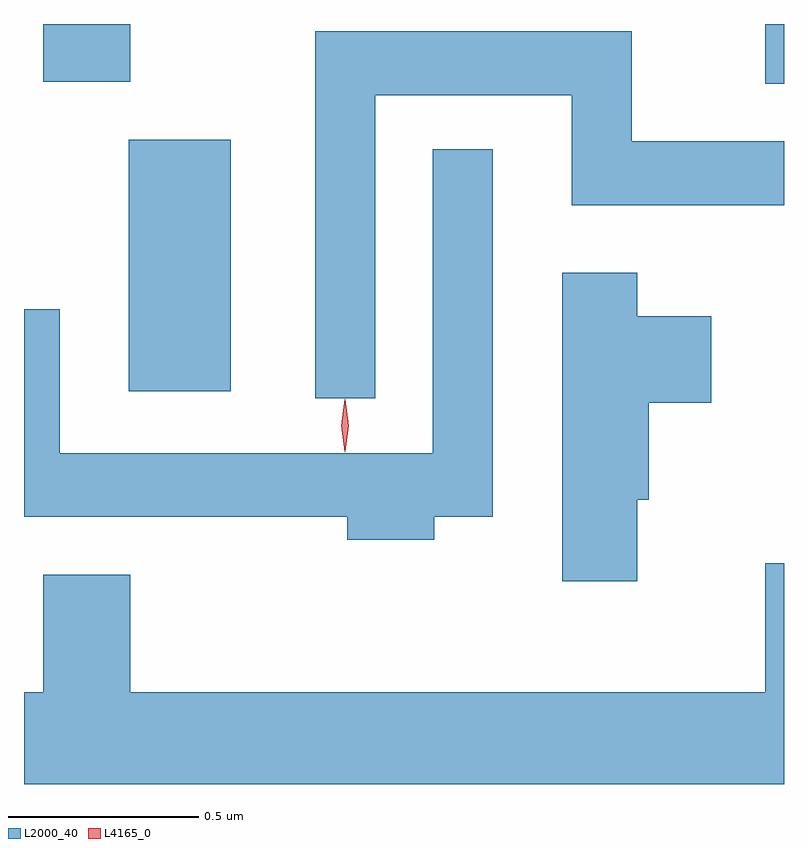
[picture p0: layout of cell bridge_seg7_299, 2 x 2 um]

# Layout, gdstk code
import gdstk
lib = gdstk.Library(unit=1e-6, precision=1e-09)
def R(c, l, rs):  # rectangles x0, y0, x1, y1
    for r in rs: c.add(gdstk.rectangle(r[:2], r[2:], *l))
def P(c, l, *ps):  # polygons
    for p in ps: c.add(gdstk.Polygon(p, *l))
L2000_40 = (2000, 40)
L4165_0 = (4165, 0)

bridge_seg7_299 = lib.new_cell('bridge_seg7_299')
R(bridge_seg7_299, L2000_40, [(1284.936,1801.956,1285.204,1802.619), (1286.611,1802.766,1286.66,1802.923), (1284.711,1802.771,1284.939,1802.923)])
P(bridge_seg7_299, L2000_40, [(1285.584,1802.736),(1286.101,1802.736),(1286.101,1802.446),(1286.66,1802.446),(1286.66,1802.614),(1286.259,1802.614),(1286.259,1802.904),(1285.426,1802.904),(1285.426,1801.938),(1285.584,1801.938)],
  [(1285.739,1801.626),(1285.894,1801.626),(1285.894,1802.593),(1285.736,1802.593),(1285.736,1801.794),(1284.754,1801.794),(1284.754,1802.173),(1284.66,1802.173),(1284.66,1801.626),(1285.511,1801.626),(1285.511,1801.566),(1285.739,1801.566)],
  [(1286.274,1801.671),(1286.304,1801.671),(1286.304,1801.926),(1286.469,1801.926),(1286.469,1802.154),(1286.274,1802.154),(1286.274,1802.269),(1286.076,1802.269),(1286.076,1801.456),(1286.274,1801.456)],
  [(1286.66,1801.504),(1286.611,1801.504),(1286.611,1801.164),(1284.939,1801.164),(1284.939,1801.474),(1284.711,1801.474),(1284.711,1801.164),(1284.66,1801.164),(1284.66,1800.923),(1286.66,1800.923)])
P(bridge_seg7_299, L4165_0, [(1285.504,1801.797),(1285.495,1801.866),(1285.504,1801.936),(1285.505,1801.936),(1285.505,1801.936),(1285.515,1801.866),(1285.505,1801.797),(1285.505,1801.797)])

lib.write_gds('bridge_seg7_299.gds')
